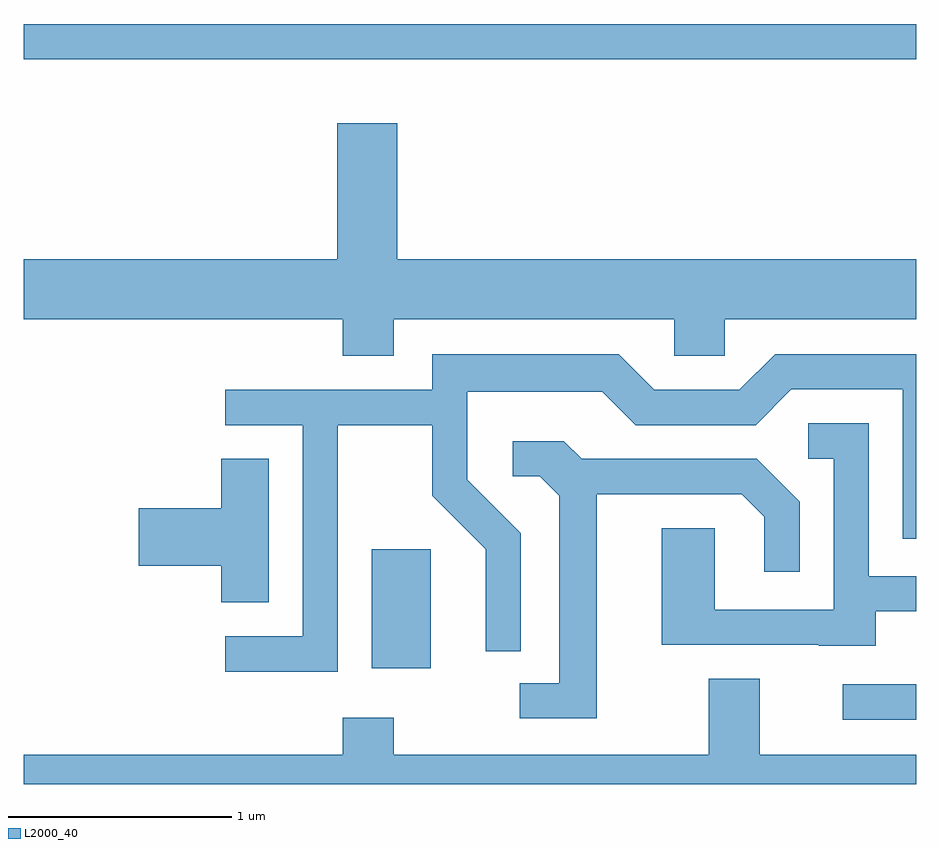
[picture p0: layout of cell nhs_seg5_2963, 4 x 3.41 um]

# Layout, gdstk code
import gdstk
lib = gdstk.Library(unit=1e-6, precision=1e-09)
def R(c, l, rs):  # rectangles x0, y0, x1, y1
    for r in rs: c.add(gdstk.rectangle(r[:2], r[2:], *l))
def P(c, l, *ps):  # polygons
    for p in ps: c.add(gdstk.Polygon(p, *l))
L2000_40 = (2000, 40)

nhs_seg5_2963 = lib.new_cell('nhs_seg5_2963')
R(nhs_seg5_2963, L2000_40, [(277.283,1428.361,277.611,1428.519), (275.171,1428.591,275.434,1429.124), (273.611,1431.321,277.611,1431.479)])
P(nhs_seg5_2963, L2000_40, [(275.269,1430.156),(276.526,1430.156),(276.526,1429.991),(276.754,1429.991),(276.754,1430.156),(277.611,1430.156),(277.611,1430.424),(275.284,1430.424),(275.284,1431.034),(275.016,1431.034),(275.016,1430.424),(273.611,1430.424),(273.611,1430.156),(275.041,1430.156),(275.041,1429.991),(275.269,1429.991)],
  [(275.019,1429.681),(275.441,1429.681),(275.441,1429.364),(275.681,1429.124),(275.681,1428.668),(275.839,1428.668),(275.839,1429.197),(275.599,1429.437),(275.599,1429.831),(276.204,1429.831),(276.354,1429.681),(276.892,1429.681),(277.052,1429.841),(277.551,1429.841),(277.551,1429.171),(277.611,1429.171),(277.611,1429.999),(276.979,1429.999),(276.819,1429.839),(276.437,1429.839),(276.277,1429.999),(275.441,1429.999),(275.441,1429.839),(274.513,1429.839),(274.513,1429.681),(274.861,1429.681),(274.861,1428.734),(274.513,1428.734),(274.513,1428.576),(275.019,1428.576)],
  [(277.429,1428.846),(277.611,1428.846),(277.611,1429.004),(277.399,1429.004),(277.399,1429.689),(277.128,1429.689),(277.128,1429.531),(277.241,1429.531),(277.241,1428.854),(276.709,1428.854),(276.709,1429.219),(276.471,1429.219),(276.471,1428.696),(277.175,1428.696),(277.175,1428.691),(277.429,1428.691)],
  [(276.179,1429.371),(276.829,1429.371),(276.931,1429.269),(276.931,1429.023),(277.089,1429.023),(277.089,1429.337),(276.897,1429.529),(276.112,1429.529),(276.032,1429.609),(275.803,1429.609),(275.803,1429.451),(275.924,1429.451),(276.011,1429.364),(276.011,1428.524),(275.833,1428.524),(275.833,1428.366),(276.179,1428.366)],
  [(274.709,1429.529),(274.496,1429.529),(274.496,1429.309),(274.126,1429.309),(274.126,1429.051),(274.496,1429.051),(274.496,1428.886),(274.709,1428.886)],
  [(277.611,1428.204),(276.909,1428.204),(276.909,1428.544),(276.681,1428.544),(276.681,1428.204),(275.269,1428.204),(275.269,1428.369),(275.041,1428.369),(275.041,1428.204),(273.611,1428.204),(273.611,1428.072),(277.611,1428.072)])

lib.write_gds('nhs_seg5_2963.gds')
